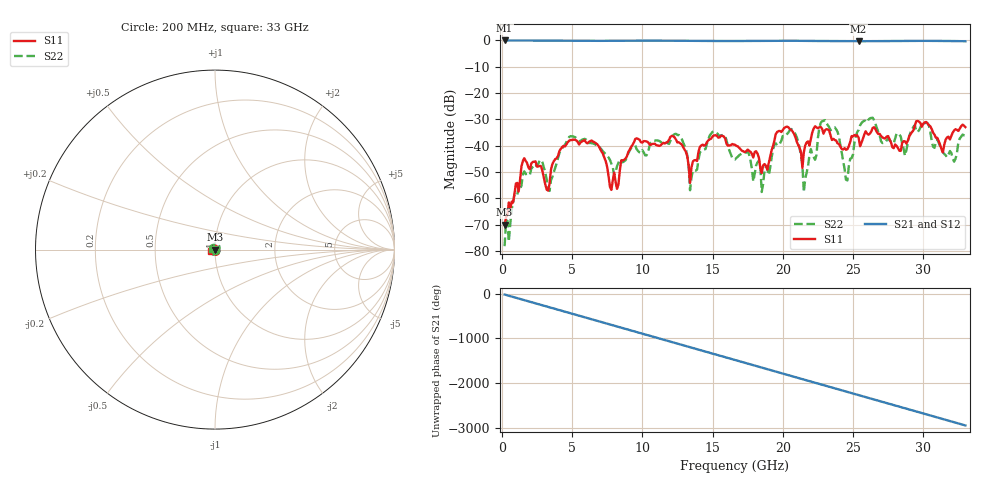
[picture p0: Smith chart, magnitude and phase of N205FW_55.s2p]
# GHZ S RI R 50
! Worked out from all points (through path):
!   329 points, 200 MHz to 33 GHz, reference 50 ohm
!   highest |S21| = -0.01 dB at 200 MHz (marker M1); lowest = -0.3 dB at 25.4 GHz (marker M2)
!   group delay of S21, straight-line fit = 248 ps
!   lowest |S11| = -70.0 dB at 200 MHz (marker M3), VSWR 1.00, Z = 50 - j0.0294 ohm
!   |S11| at or under -10 dB: start of sweep to end of sweep
!   |S22| runs from -78.1 to -29.4 dB; largest |S21 - S12| = 0.0022
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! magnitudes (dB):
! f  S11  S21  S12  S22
! 200 MHz  -70.0  0.0  0.0  -78.1
! 1.6 GHz  -44.7  0.0  0.0  -49.7
! 3.3 GHz  -57.0  -0.1  -0.1  -56.6
! 5.7 GHz  -38.4  -0.1  -0.1  -37.7
! 7.8 GHz  -56.8  -0.1  -0.1  -46.8
! 9.5 GHz  -37.4  -0.1  -0.1  -39.9
! 11.2 GHz  -40.1  -0.1  -0.1  -38.2
! 12.7 GHz  -39.1  -0.1  -0.1  -36.4
! 13.4 GHz  -54.1  -0.2  -0.2  -56.9
! 15 GHz  -36.5  -0.2  -0.2  -34.7
! 16.6 GHz  -39.6  -0.2  -0.2  -45.2
! 18.3 GHz  -44.5  -0.2  -0.2  -45.6
! 18.5 GHz  -50.4  -0.2  -0.2  -57.5
! 20.6 GHz  -34.0  -0.1  -0.1  -33.6
! 21.5 GHz  -42.5  -0.1  -0.1  -57.6
! 22.1 GHz  -34.9  -0.2  -0.2  -43.3
! 23.7 GHz  -37.8  -0.3  -0.3  -33.0
! 24.6 GHz  -41.3  -0.3  -0.3  -53.2
! 25.4 GHz  -36.9  -0.3  -0.3  -34.0
! 27.6 GHz  -37.5  -0.2  -0.2  -38.0
! 32.2 GHz  -34.2  -0.2  -0.2  -46.0
! 33 GHz  -32.9  -0.3  -0.3  -36.2
